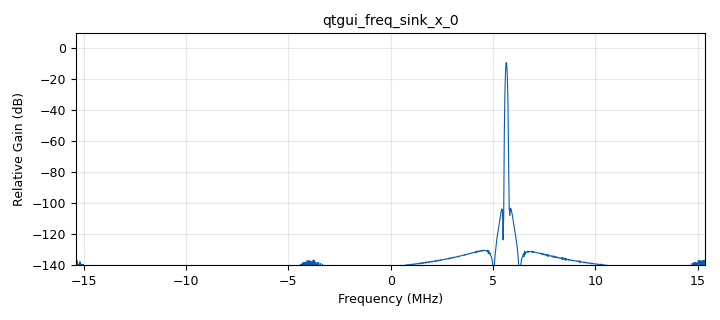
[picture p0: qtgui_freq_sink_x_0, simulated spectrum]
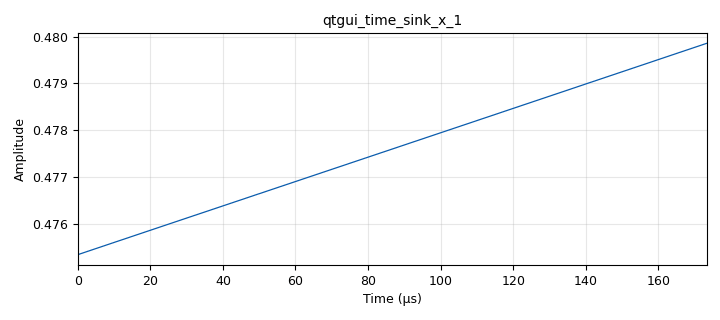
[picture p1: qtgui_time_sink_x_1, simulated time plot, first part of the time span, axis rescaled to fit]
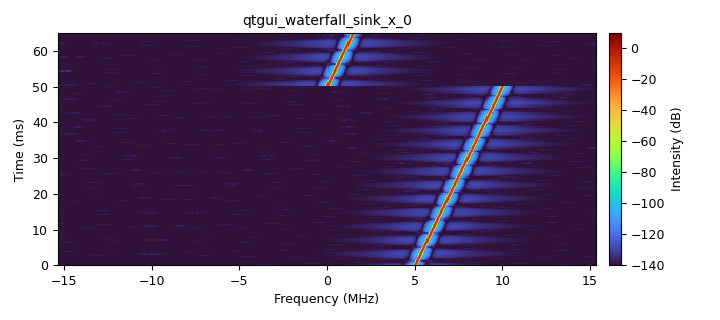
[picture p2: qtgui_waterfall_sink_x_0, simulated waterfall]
options:
  parameters:
    author: V0rt
    generate_options: qt_gui
    id: chirp_generator
    output_language: python
    title: chirp_generator
  states: {}

blocks:
- name: df
  id: variable_qtgui_range
  parameters:
    gui_hint: tab0@0:0,0,1,1
    label: df mhz
    orient: Qt.Horizontal
    start: '0'
    step: '0.1'
    stop: samp_rate / 1e6
    value: '10'
    widget: counter
  states: {}
- name: dt
  id: variable_qtgui_range
  parameters:
    gui_hint: tab0@0:0,2,1,1
    label: dt ms
    orient: Qt.Horizontal
    start: '0'
    step: '0.001'
    stop: '10000'
    value: '100'
    widget: counter
  states: {}
- name: f0
  id: variable_qtgui_range
  parameters:
    gui_hint: tab0@0:0,1,1,1
    label: f0 mhz
    orient: Qt.Horizontal
    start: '-samp_rate /2 / 1e6'
    step: '0.1'
    stop: samp_rate / 2 / 1e6
    value: '5'
    widget: counter
  states: {}
- name: freq
  id: variable_qtgui_range
  parameters:
    gui_hint: tab0@0:0,3,1,1
    label: freq mhz
    orient: Qt.Horizontal
    start: '70'
    step: '0.5'
    stop: '6000'
    value: '2450'
    widget: counter
  states: {}
- name: gain
  id: variable_qtgui_range
  parameters:
    gui_hint: tab0@0:0,4,1,1
    orient: Qt.Horizontal
    start: '0'
    step: '0.01'
    stop: '1'
    value: '0.9'
    widget: counter
  states: {}
- name: samp_rate
  id: variable
  parameters:
    value: 30.72e6
  states: {}
- name: analog_frequency_modulator_fc_0
  id: analog_frequency_modulator_fc
  parameters:
    sensitivity: '1'
  states: {}
- name: analog_quadrature_demod_cf_0
  id: analog_quadrature_demod_cf
  parameters:
    gain: samp_rate/(2*math.pi*samp_rate/8.0)
  states: {}
- name: analog_sig_source_x_0
  id: analog_sig_source_x
  parameters:
    amp: df * 1e6 * 2 * m.pi / samp_rate
    freq: 1.0 / (dt / 1000.0)
    offset: (f0 * 1e6 * 2 * m.pi / samp_rate) - (df * 1e6 * m.pi / samp_rate)
    phase: '0'
    samp_rate: samp_rate
    type: float
    waveform: analog.GR_SAW_WAVE
  states: {}
- name: blocks_null_sink_0
  id: blocks_null_sink
  parameters:
    type: complex
  states: {}
- name: blocks_throttle_0
  id: blocks_throttle
  parameters:
    samples_per_second: 500e3
    type: complex
  states: {}
- name: import_0
  id: import
  parameters:
    imports: import math as m
  states: {}
- name: qtgui_freq_sink_x_0
  id: qtgui_freq_sink_x
  parameters:
    bw: samp_rate
    fc: '0'
    fftsize: '1024'
    grid: 'True'
    gui_hint: 2,0,1,4
    legend: 'False'
    showports: 'True'
    type: complex
    wintype: firdes.WIN_BLACKMAN_hARRIS
  states: {}
- name: qtgui_time_sink_x_1
  id: qtgui_time_sink_x
  parameters:
    grid: 'True'
    gui_hint: 3,0,1,4
    label1: ''
    legend: 'False'
    size: int(samp_rate * dt / 1000)
    srate: samp_rate
    type: float
    ymax: m.pi
    ymin: '-m.pi'
  states: {}
- name: qtgui_waterfall_sink_x_0
  id: qtgui_waterfall_sink_x
  parameters:
    bw: samp_rate
    fc: '0'
    fftsize: '1024'
    grid: 'True'
    gui_hint: 1,0,1,4
    legend: 'False'
    showports: 'True'
    type: complex
    wintype: firdes.WIN_BLACKMAN_hARRIS
  states: {}
- name: tab0
  id: qtgui_tab_widget
  parameters:
    gui_hint: 0,0,1,4
    label0: tab
    num_tabs: '1'
  states: {}
- name: uhd_usrp_sink_0
  id: uhd_usrp_sink
  parameters:
    ant0: TX/RX
    center_freq0: freq*1e6
    clock_rate: '0.0'
    dev_args: '""'
    gain0: gain
    len_tag_name: ''
    norm_gain0: 'True'
    samp_rate: samp_rate
    sync: sync
    type: fc32
  states: {state: disabled}

connections:
- [analog_frequency_modulator_fc_0, '0', analog_quadrature_demod_cf_0, '0']
- [analog_frequency_modulator_fc_0, '0', blocks_throttle_0, '0']
- [analog_frequency_modulator_fc_0, '0', qtgui_freq_sink_x_0, '0']
- [analog_frequency_modulator_fc_0, '0', qtgui_waterfall_sink_x_0, '0']
- [analog_frequency_modulator_fc_0, '0', uhd_usrp_sink_0, '0']
- [analog_quadrature_demod_cf_0, '0', qtgui_time_sink_x_1, '0']
- [analog_sig_source_x_0, '0', analog_frequency_modulator_fc_0, '0']
- [blocks_throttle_0, '0', blocks_null_sink_0, '0']

metadata:
  file_format: 1
